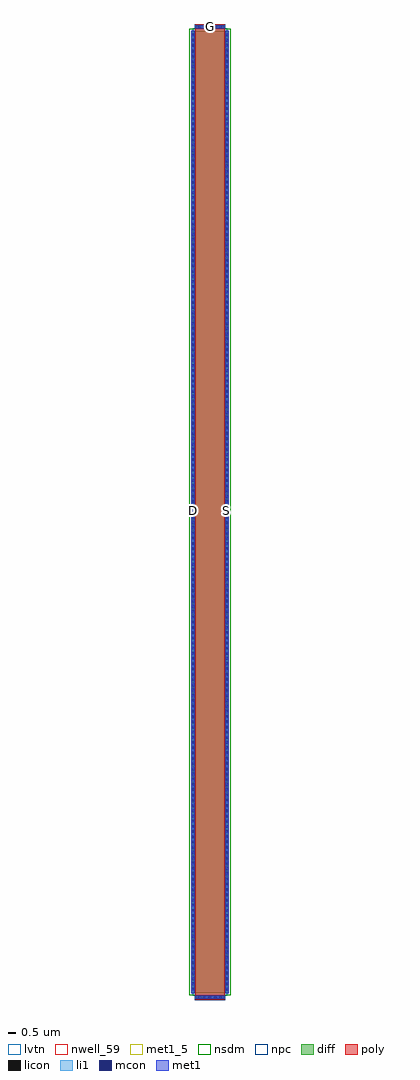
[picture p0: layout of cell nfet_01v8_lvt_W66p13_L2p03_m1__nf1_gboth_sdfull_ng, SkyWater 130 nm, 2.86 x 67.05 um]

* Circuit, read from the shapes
.subckt nfet_01v8_lvt_W66p13_L2p03_m1__nf1_gboth_sdfull_ng B D G S
XM1 S G D B sky130_fd_pr__nfet_01v8_lvt w=66.13 l=2.03
.ends

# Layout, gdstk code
import gdstk
lib = gdstk.Library(unit=1e-6, precision=1e-09)
def R(c, l, rs):  # rectangles x0, y0, x1, y1
    for r in rs: c.add(gdstk.rectangle(r[:2], r[2:], *l))
def A(c, l, x, y, w, h, nx, ny, dx, dy):  # array of equal rectangles
    R(c, l, [(x+i*dx, y+j*dy, x+i*dx+w, y+j*dy+h) for i in range(nx) for j in range(ny)])
nwell_59 = (64, 59)
diff = (65, 20)
poly = (66, 20)
licon = (66, 44)
li1 = (67, 20)
mcon = (67, 44)
met1_5 = (68, 5)
met1 = (68, 20)
nsdm = (93, 44)
npc = (95, 20)
lvtn = (125, 44)

sky130_fd_pr__nfet_01v8_ = lib.new_cell('sky130_fd_pr__nfet_01v8_lvt_28N3WQ')
R(sky130_fd_pr__nfet_01v8_, diff, [(-1.305,-33.065,1.305,33.065)])
R(sky130_fd_pr__nfet_01v8_, poly, [(-1.015,-33.505,1.015,33.505)])
A(sky130_fd_pr__nfet_01v8_, licon, -0.935, -33.425, 0.17, 0.17, 6, 2, 0.34, 66.68)
A(sky130_fd_pr__nfet_01v8_, licon, -1.245, -32.895, 0.17, 0.17, 1, 194, 0, 0.34)
A(sky130_fd_pr__nfet_01v8_, licon, 1.075, -32.895, 0.17, 0.17, 1, 194, 0, 0.34)
R(sky130_fd_pr__nfet_01v8_, li1, [(-1.015,-33.425,1.015,-33.255), (-1.245,-33.085,-1.075,33.085), (1.075,-33.085,1.245,33.085), (-1.015,33.255,1.015,33.425)])
A(sky130_fd_pr__nfet_01v8_, mcon, -0.805, -33.425, 0.17, 0.17, 5, 2, 0.36, 66.68)
A(sky130_fd_pr__nfet_01v8_, mcon, -1.245, -32.845, 0.17, 0.17, 1, 183, 0, 0.36)
A(sky130_fd_pr__nfet_01v8_, mcon, 1.075, -32.845, 0.17, 0.17, 1, 183, 0, 0.36)
R(sky130_fd_pr__nfet_01v8_, met1, [(-0.995,-33.455,0.995,-33.225), (-1.275,-33.065,-1.045,33.065), (1.045,-33.065,1.275,33.065), (-0.995,33.225,0.995,33.455)])
R(sky130_fd_pr__nfet_01v8_, nsdm, [(-1.43,-33.19,1.43,33.19)])
R(sky130_fd_pr__nfet_01v8_, npc, [(-1.035,-33.525,1.035,-33.155), (-1.035,33.155,1.035,33.525)])
R(sky130_fd_pr__nfet_01v8_, lvtn, [(-1.195,-33.245,1.195,33.245)])
sky130_fd_pr__nfet_01v8_.add(gdstk.Label('D', (-1.16,0), layer=67, texttype=5))
sky130_fd_pr__nfet_01v8_.add(gdstk.Label('S', (1.16,0), layer=67, texttype=5))
sky130_fd_pr__nfet_01v8_.add(gdstk.Label('G', (0,33.34), layer=67, texttype=5))

nfet_01v8_lvt_w66p13_l2p = lib.new_cell('nfet_01v8_lvt_W66p13_L2p03_m1__nf1_gboth_sdfull_ng')
R(nfet_01v8_lvt_w66p13_l2p, nwell_59, [(0.05,33.455,0.15,33.555)])
R(nfet_01v8_lvt_w66p13_l2p, met1_5, [(0.03,33.505,0.26,33.705), (2.35,33.505,2.58,33.705), (0.31,66.73,2.3,66.96)])
R(nfet_01v8_lvt_w66p13_l2p, met1, [(0.03,33.505,0.26,33.705), (2.35,33.505,2.58,33.705), (0.31,66.73,2.3,66.96)])
nfet_01v8_lvt_w66p13_l2p.add(gdstk.Reference(sky130_fd_pr__nfet_01v8_, (1.305,33.505)))
nfet_01v8_lvt_w66p13_l2p.add(gdstk.Label('D', (0.145,33.605), layer=68, texttype=5))
nfet_01v8_lvt_w66p13_l2p.add(gdstk.Label('S', (2.465,33.605), layer=68, texttype=5))
nfet_01v8_lvt_w66p13_l2p.add(gdstk.Label('G', (1.305,66.845), layer=68, texttype=5))
nfet_01v8_lvt_w66p13_l2p.add(gdstk.Label('B', (0.1,33.505), layer=64, texttype=59))

lib.write_gds('nfet_01v8_lvt_W66p13_L2p03_m1__nf1_gboth_sdfull_ng.gds')
